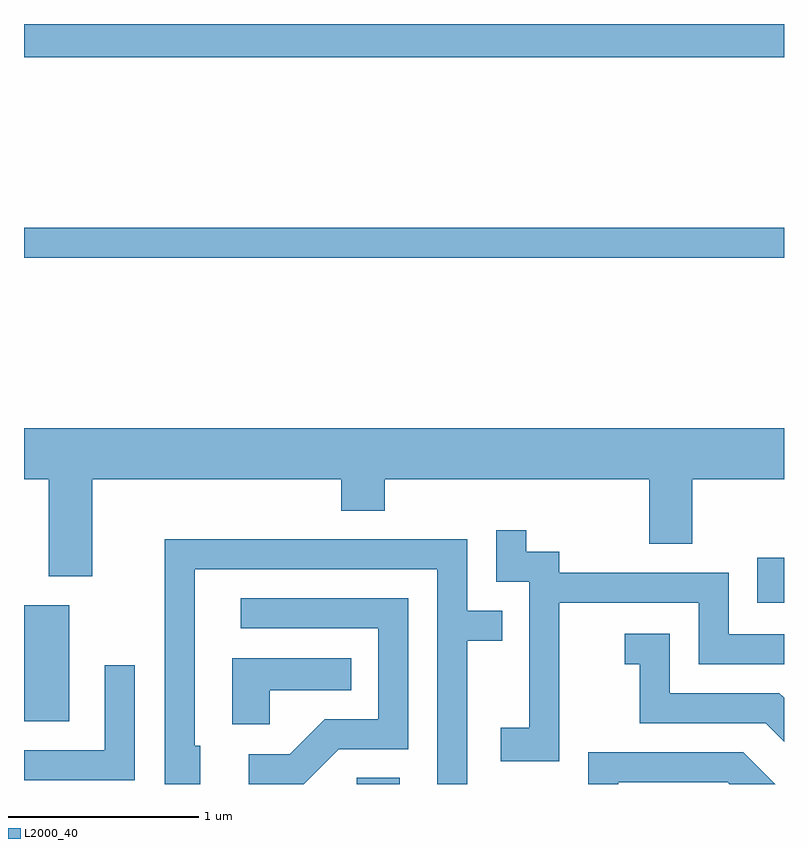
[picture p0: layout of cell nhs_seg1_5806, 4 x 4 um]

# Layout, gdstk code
import gdstk
lib = gdstk.Library(unit=1e-6, precision=1e-09)
def R(c, l, rs):  # rectangles x0, y0, x1, y1
    for r in rs: c.add(gdstk.rectangle(r[:2], r[2:], *l))
def P(c, l, *ps):  # polygons
    for p in ps: c.add(gdstk.Polygon(p, *l))
L2000_40 = (2000, 40)

nhs_seg1_5806 = lib.new_cell('nhs_seg1_5806')
R(nhs_seg1_5806, L2000_40, [(361.361,935.712,361.589,935.744), (359.611,936.041,359.849,936.654), (363.471,936.666,363.611,936.903), (359.611,938.481,363.611,938.639), (359.611,939.536,363.611,939.712)])
P(nhs_seg1_5806, L2000_40, [(359.969,937.316),(361.281,937.316),(361.281,937.151),(361.509,937.151),(361.509,937.316),(362.901,937.316),(362.901,936.976),(363.129,936.976),(363.129,937.316),(363.611,937.316),(363.611,937.584),(359.611,937.584),(359.611,937.316),(359.741,937.316),(359.741,936.806),(359.969,936.806)],
  [(362.429,936.666),(363.161,936.666),(363.161,936.341),(363.611,936.341),(363.611,936.499),(363.319,936.499),(363.319,936.824),(362.429,936.824),(362.429,936.934),(362.254,936.934),(362.254,937.048),(362.096,937.048),(362.096,936.776),(362.271,936.776),(362.271,936.009),(362.121,936.009),(362.121,935.831),(362.429,935.831)],
  [(360.539,935.914),(360.509,935.914),(360.509,936.841),(361.786,936.841),(361.786,935.712),(361.944,935.712),(361.944,936.466),(362.128,936.466),(362.128,936.624),(361.944,936.624),(361.944,936.999),(360.351,936.999),(360.351,935.712),(360.539,935.712)],
  [(361.267,935.896),(361.634,935.896),(361.634,936.689),(360.753,936.689),(360.753,936.531),(361.476,936.531),(361.476,936.054),(361.194,936.054),(361.009,935.869),(360.793,935.869),(360.793,935.712),(361.083,935.712)],
  [(363.611,936.165),(363.587,936.189),(363.009,936.189),(363.009,936.504),(362.773,936.504),(362.773,936.341),(362.851,936.341),(362.851,936.031),(363.514,936.031),(363.611,935.934)],
  [(360.904,936.206),(361.333,936.206),(361.333,936.374),(360.706,936.374),(360.706,936.026),(360.904,936.026)],
  [(360.194,936.338),(360.036,936.338),(360.036,935.889),(359.611,935.889),(359.611,935.731),(360.194,935.731)],
  [(362.739,935.721),(363.314,935.721),(363.323,935.712),(363.564,935.712),(363.397,935.879),(362.581,935.879),(362.581,935.712),(362.739,935.712)])

lib.write_gds('nhs_seg1_5806.gds')
